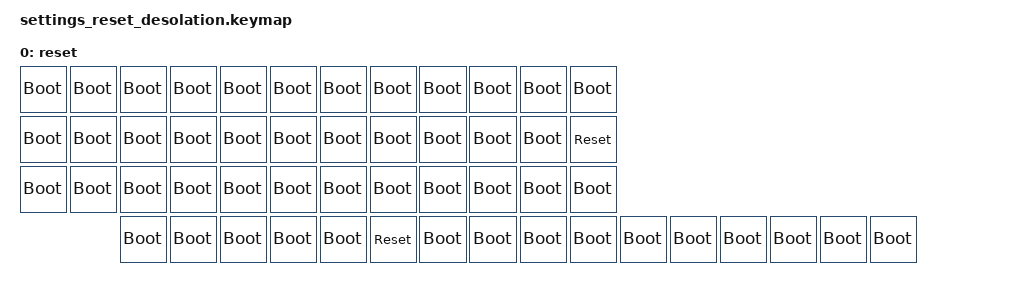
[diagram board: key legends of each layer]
/*
 * Copyright (c) 2020 The ZMK Contributors
 *
 * SPDX-License-Identifier: MIT
 */

#include <behaviors.dtsi>
#include <dt-bindings/zmk/keys.h>

#define bl &bootloader

/ {
    keymap {
        compatible = "zmk,keymap";

       RESET_layer {
            display-name = "reset";  
            bindings = <
                bl bl bl bl bl bl bl bl bl bl bl bl
                bl bl bl bl bl bl bl bl bl bl bl &sys_reset
                bl bl bl bl bl bl bl bl bl bl bl bl
                         bl bl bl bl bl &sys_reset bl bl bl bl bl bl bl bl bl bl
		    >;
        };
    };
};
